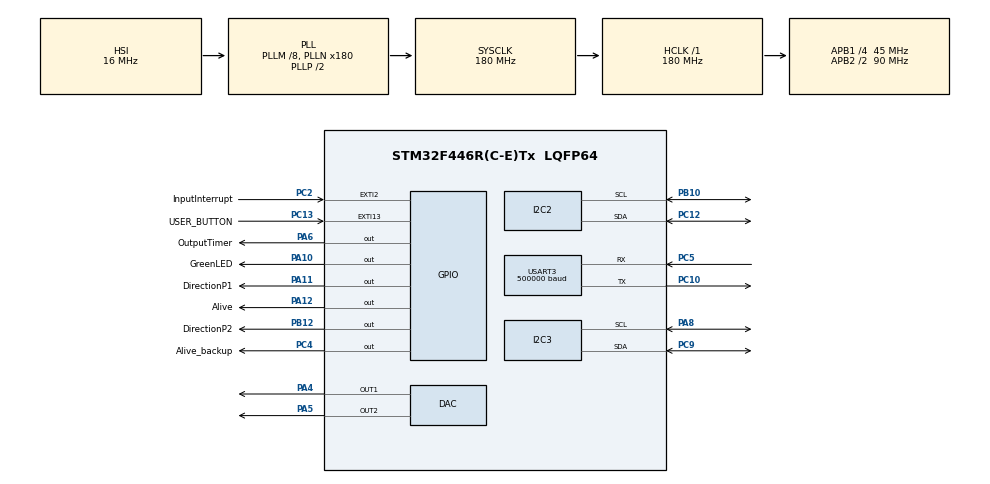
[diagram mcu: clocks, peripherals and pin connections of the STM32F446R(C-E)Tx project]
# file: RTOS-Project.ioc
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Mcu.Family=STM32F4
FREERTOS.Queues01=Sensor1Queue,1,float,0,Dynamic,NULL,NULL;Sensor2Queue,1,float,0,Dynamic,NULL,NULL;P1TelemetryQueue,1,float,0,Dynamic,NULL,NULL;P2TelemetryQueue,1,float,0,Dynamic,NULL,NULL;MissionDataQueue,1,int,0,Dynamic,NULL,NULL;MewMissionP1Queue,1,int,0,Dynamic,NULL,NULL;MewMissionP2Queue,1,int,0,Dynamic,NULL,NULL;MpuDataQueue,1,uint32_t,0,Dynamic,NULL,NULL;MissionTimerQueue,1,uint32_t,0,Dynamic,NULL,NULL;TimerSettingsQueue,1,int,0,Dynamic,NULL,NULL
RCC.CortexFreq_Value=180000000
FREERTOS.BinarySemaphores01=P1ITSem,Dynamic,NULL;P2ITSem,Dynamic,NULL;MissionTimerSem,Dynamic,NULL;TelemetryThreadSem,Dynamic,NULL
PC9.GPIO_PuPdOD=GPIO_NOPULL
PB10.Mode=I2C
NVIC.DMA1_Stream2_IRQn=true\:5\:0\:false\:false\:true\:false\:false\:true
PC10.Signal=USART3_TX
PC12.Signal=I2C2_SDA
PA6.GPIO_Label=OutputTimer
PA11.GPIO_PuPd=GPIO_PULLDOWN
PC5.Mode=Asynchronous
PC13.GPIO_Label=USER_BUTTON
NVIC.DMA1_Stream4_IRQn=true\:5\:0\:false\:false\:true\:true\:false\:true
RCC.SYSCLKSource=RCC_SYSCLKSOURCE_PLLCLK
ProjectManager.StackSize=0x400
SH.COMP_DAC2_group.0=DAC_OUT2,DAC_OUT2
Dma.I2C2_TX.3.Mode=DMA_NORMAL
VP_TIM7_VS_ClockSourceINT.Mode=Enable_Timer
PA12.GPIO_ModeDefaultOutputPP=GPIO_MODE_OUTPUT_PP
Dma.I2C2_RX.2.Priority=DMA_PRIORITY_LOW
PA12.Signal=GPIO_Output
Dma.I2C3_RX.1.Instance=DMA1_Stream1
USART3.BaudRate=500000
Dma.I2C3_RX.1.MemInc=DMA_MINC_ENABLE
RCC.HCLKFreq_Value=180000000
RCC.APB2TimFreq_Value=180000000
Dma.I2C2_RX.2.Direction=DMA_PERIPH_TO_MEMORY
TIM7.Period=49999
Dma.I2C2_TX.3.PeriphDataAlignment=DMA_PDATAALIGN_BYTE
FREERTOS.configMINIMAL_STACK_SIZE=256
Dma.I2C3_RX.1.PeriphDataAlignment=DMA_PDATAALIGN_BYTE
RCC.AHBFreq_Value=180000000
NVIC.EXTI15_10_IRQn=true\:5\:0\:false\:false\:true\:true\:true\:true
PA12.PinState=GPIO_PIN_SET
PC12.GPIO_PuPdOD=GPIO_NOPULL
PB12.GPIO_Label=DirectionP2
Dma.I2C2_TX.3.MemDataAlignment=DMA_MDATAALIGN_BYTE
NVIC.I2C3_EV_IRQn=true\:5\:0\:false\:false\:true\:true\:true\:true
Dma.I2C3_TX.0.Direction=DMA_MEMORY_TO_PERIPH
Dma.I2C2_TX.3.Priority=DMA_PRIORITY_LOW
PC4.GPIO_Label=Alive_backup
Dma.I2C2_RX.2.PeriphDataAlignment=DMA_PDATAALIGN_BYTE
PA8.GPIO_PuPdOD=GPIO_NOPULL
VP_SYS_VS_tim1.Mode=TIM1
Dma.I2C2_TX.3.PeriphInc=DMA_PINC_DISABLE
NVIC.TIM2_IRQn=true\:5\:0\:false\:false\:true\:true\:true\:true
PA10.GPIO_Label=GreenLED
PC13.GPIO_PuPd=GPIO_NOPULL
PC9.Mode=I2C
Dma.I2C2_RX.2.Mode=DMA_NORMAL
PA8.Signal=I2C3_SCL
VP_FREERTOS_VS_CMSIS_V1.Mode=CMSIS_V1
Dma.I2C3_TX.0.Priority=DMA_PRIORITY_LOW
NVIC.DMA1_Stream7_IRQn=true\:5\:0\:false\:false\:true\:true\:false\:true
PB9.Signal=I2C1_SDA
Mcu.Package=LQFP64
TIM2.Prescaler=1
PA6.Signal=GPIO_Output
NVIC.TimeBase=TIM1_UP_TIM10_IRQn
Dma.I2C2_RX.2.FIFOMode=DMA_FIFOMODE_DISABLE
NVIC.TimeBaseIP=TIM1
PA10.Signal=GPIO_Output
RCC.APB2CLKDivider=RCC_HCLK_DIV2
NVIC.EXTI2_IRQn=true\:5\:0\:false\:false\:true\:true\:true\:true
Dma.Request2=I2C2_RX
Dma.I2C2_RX.2.Instance=DMA1_Stream2
Dma.Request1=I2C3_RX
RCC.APB1TimFreq_Value=90000000
Dma.Request3=I2C2_TX
PC5.Signal=USART3_RX
Dma.I2C3_TX.0.PeriphDataAlignment=DMA_PDATAALIGN_BYTE
PA12.GPIO_PuPd=GPIO_NOPULL
Dma.Request0=I2C3_TX
Dma.I2C3_TX.0.MemInc=DMA_MINC_ENABLE
PC2.GPIO_Label=InputInterrupt
NVIC.TIM7_IRQn=true\:6\:0\:true\:false\:true\:true\:true\:true
PC2.GPIO_ModeDefaultEXTI=GPIO_MODE_IT_RISING_FALLING
SH.COMP_DAC1_group.0=DAC_OUT1,DAC_OUT1
FREERTOS.Tasks01=defaultTask,-2,256,StartDefaultTask,Default,NULL,Dynamic,NULL,NULL;ThreadP1,0,256,P1EntryFunc,Default,NULL,Dynamic,NULL,NULL;ThreadP2,0,256,P2EntryFunc,Default,NULL,Dynamic,NULL,NULL;SensorRead,0,256,SensorReadFunc,Default,NULL,Dynamic,NULL,NULL;OrchestratorTas,1,256,OrchestratorTaskFunc,Default,NULL,Dynamic,NULL,NULL;TelemetryThread,-1,256,TelemetryThreadFunc,Default,NULL,Dynamic,NULL,NULL;MissionTimerTas,2,256,MissionTimerTaskFunc,Default,NULL,Dynamic,NULL,NULL
I2C3.OwnAddress=2
PC4.GPIO_PuPd=GPIO_NOPULL
Dma.I2C2_TX.3.Instance=DMA1_Stream7
PC13.Signal=GPXTI13
Dma.I2C3_TX.0.PeriphInc=DMA_PINC_DISABLE
Dma.I2C3_TX.0.Mode=DMA_NORMAL
PB10.GPIO_PuPdOD=GPIO_NOPULL
PC4.Signal=GPIO_Output
PC2.Signal=GPXTI2
PC10.Mode=Asynchronous
PA11.GPIO_Label=DirectionP1
NVIC.DMA1_Stream1_IRQn=true\:5\:0\:false\:false\:true\:true\:false\:true
RCC.APB1TimCLKDivider=2
FREERTOS.CountingSemaphores01=CountingSemaphore,2,Dynamic,NULL
RCC.APB1CLKDivider=RCC_HCLK_DIV4
Dma.I2C3_TX.0.Instance=DMA1_Stream4
Dma.I2C2_RX.2.MemDataAlignment=DMA_MDATAALIGN_BYTE
PA12.GPIO_Label=Alive
Dma.I2C3_RX.1.Direction=DMA_PERIPH_TO_MEMORY
I2C3.GeneralCallMode=I2C_GENERALCALL_ENABLE
ProjectManager.TargetToolchain=STM32CubeIDE
NVIC.I2C2_ER_IRQn=true\:5\:0\:false\:false\:true\:true\:true\:true
RCC.USBFreq_Value=180000000
Dma.I2C2_TX.3.FIFOMode=DMA_FIFOMODE_DISABLE
PB10.Signal=I2C2_SCL
Dma.I2C3_RX.1.MemDataAlignment=DMA_MDATAALIGN_BYTE
PA5.Signal=COMP_DAC2_group
Dma.I2C2_RX.2.PeriphInc=DMA_PINC_DISABLE
PC12.Mode=I2C
TIM7.Prescaler=1799
board=custom
RCC.VCOOutputFreq_Value=360000000
RCC.APB2Freq_Value=90000000
Dma.I2C3_RX.1.PeriphInc=DMA_PINC_DISABLE
VP_TIM2_VS_ClockSourceINT.Mode=Internal
Dma.I2C2_TX.3.MemInc=DMA_MINC_ENABLE
Dma.I2C3_TX.0.FIFOMode=DMA_FIFOMODE_DISABLE
PC2.GPIO_PuPd=GPIO_PULLDOWN
TIM2.Period=899999
Mcu.Name=STM32F446R(C-E)Tx
Dma.I2C3_RX.1.FIFOMode=DMA_FIFOMODE_DISABLE
PA4.Signal=COMP_DAC1_group
RCC.SYSCLKFreq_VALUE=180000000
FREERTOS.configUSE_COUNTING_SEMAPHORES=1
Dma.I2C2_TX.3.Direction=DMA_MEMORY_TO_PERIPH
PC13.GPIO_ModeDefaultEXTI=GPIO_MODE_IT_FALLING
USART3.VirtualMode=VM_ASYNC
PA11.Signal=GPIO_Output
ProjectManager.HeapSize=0x200
Dma.I2C3_RX.1.Priority=DMA_PRIORITY_LOW
NVIC.TIM1_UP_TIM10_IRQn=true\:0\:0\:false\:false\:true\:false\:false\:true
NVIC.I2C2_EV_IRQn=true\:5\:0\:false\:false\:true\:true\:true\:true
Dma.I2C2_RX.2.MemInc=DMA_MINC_ENABLE
NVIC.PriorityGroup=NVIC_PRIORITYGROUP_4
RCC.PLLM=8
Dma.I2C3_RX.1.Mode=DMA_NORMAL
NVIC.I2C3_ER_IRQn=true\:5\:0\:false\:false\:true\:true\:true\:true
RCC.PLLN=180
PB8.Signal=I2C1_SCL
TIM2.AutoReloadPreload=TIM_AUTORELOAD_PRELOAD_DISABLE
PA8.Mode=I2C
PC9.Signal=I2C3_SDA
RCC.APB1Freq_Value=45000000
VP_CRC_VS_CRC.Mode=CRC_Activate
Dma.I2C3_TX.0.MemDataAlignment=DMA_MDATAALIGN_BYTE
PB12.Signal=GPIO_Output

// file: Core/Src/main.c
/* USER CODE BEGIN Header */
/**
 ******************************************************************************
 * @file           : main.c
 * @brief          : Main program body
 ******************************************************************************
 * @attention
 *
 * <h2><center>&copy; Copyright (c) 2021 STMicroelectronics.
 * All rights reserved.</center></h2>
 *
 * This software component is licensed by ST under BSD 3-Clause license,
 * the "License"; You may not use this file except in compliance with the
 * License. You may obtain a copy of the License at:
 *                        opensource.org/licenses/BSD-3-Clause
 *
 ******************************************************************************
 */
/* USER CODE END Header */
#include "main.h"
#include "cmsis_os.h"
#include "crc.h"
#include "dac.h"
#include "dma.h"
#include "i2c.h"
#include "tim.h"
#include "usart.h"
#include "gpio.h"

/* USER CODE BEGIN Includes */
#include "config.h"
//#include "math.h"

/* USER CODE END Includes */

/* USER CODE BEGIN PD */

/*	TODO se si rigenera il codice:
 * 	1. Setta la funzione HAL_TIM_PeriodElapsedCallback come __weak
 */

/* USER CODE END PD */

void SystemClock_Config(void);
void MX_FREERTOS_Init(void);

int main(void)
{

  /* MCU Configuration--------------------------------------------------------*/

  /* Reset of all peripherals, Initializes the Flash interface and the Systick. */
  HAL_Init();

  /* Configure the system clock */
  SystemClock_Config();

  /* Initialize all configured peripherals */
  MX_GPIO_Init();
  MX_DMA_Init();
  MX_DAC_Init();
  MX_TIM2_Init();
  MX_CRC_Init();
  MX_I2C2_Init();
  MX_TIM7_Init();
  MX_I2C3_Init();
  MX_USART3_UART_Init();
  /* USER CODE BEGIN 2 */
  HAL_DAC_Start(&hdac, DAC_CHANNEL_1);
  HAL_DAC_Start(&hdac, DAC_CHANNEL_2);

  /* USER CODE END 2 */

  /* Call init function for freertos objects (in freertos.c) */
  MX_FREERTOS_Init();
  /* Start scheduler */
  osKernelStart();

  /* We should never get here as control is now taken by the scheduler */
  /* Infinite loop */
	while (1)
	{

	}
}

void SystemClock_Config(void)
{
  RCC_OscInitTypeDef RCC_OscInitStruct = {0};
  RCC_ClkInitTypeDef RCC_ClkInitStruct = {0};

  /** Configure the main internal regulator output voltage
  */
  __HAL_RCC_PWR_CLK_ENABLE();
  __HAL_PWR_VOLTAGESCALING_CONFIG(PWR_REGULATOR_VOLTAGE_SCALE1);
  /** Initializes the RCC Oscillators according to the specified parameters
  * in the RCC_OscInitTypeDef structure.
  */
  RCC_OscInitStruct.OscillatorType = RCC_OSCILLATORTYPE_HSI;
  RCC_OscInitStruct.HSIState = RCC_HSI_ON;
  RCC_OscInitStruct.HSICalibrationValue = RCC_HSICALIBRATION_DEFAULT;
  RCC_OscInitStruct.PLL.PLLState = RCC_PLL_ON;
  RCC_OscInitStruct.PLL.PLLSource = RCC_PLLSOURCE_HSI;
  RCC_OscInitStruct.PLL.PLLM = 8;
  RCC_OscInitStruct.PLL.PLLN = 180;
  RCC_OscInitStruct.PLL.PLLP = RCC_PLLP_DIV2;
  RCC_OscInitStruct.PLL.PLLQ = 2;
  RCC_OscInitStruct.PLL.PLLR = 2;
  if (HAL_RCC_OscConfig(&RCC_OscInitStruct) != HAL_OK)
  {
    Error_Handler();
  }
  /** Activate the Over-Drive mode
  */
  if (HAL_PWREx_EnableOverDrive() != HAL_OK)
  {
    Error_Handler();
  }
  /** Initializes the CPU, AHB and APB buses clocks
  */
  RCC_ClkInitStruct.ClockType = RCC_CLOCKTYPE_HCLK|RCC_CLOCKTYPE_SYSCLK
                              |RCC_CLOCKTYPE_PCLK1|RCC_CLOCKTYPE_PCLK2;
  RCC_ClkInitStruct.SYSCLKSource = RCC_SYSCLKSOURCE_PLLCLK;
  RCC_ClkInitStruct.AHBCLKDivider = RCC_SYSCLK_DIV1;
  RCC_ClkInitStruct.APB1CLKDivider = RCC_HCLK_DIV4;
  RCC_ClkInitStruct.APB2CLKDivider = RCC_HCLK_DIV2;

  if (HAL_RCC_ClockConfig(&RCC_ClkInitStruct, FLASH_LATENCY_5) != HAL_OK)
  {
    Error_Handler();
  }
}

 /**
  * @brief  Period elapsed callback in non blocking mode
  * @note   This function is called  when TIM1 interrupt took place, inside
  * HAL_TIM_IRQHandler(). It makes a direct call to HAL_IncTick() to increment
  * a global variable "uwTick" used as application time base.
  * @param  htim : TIM handle
  * @retval None
  */
__weak void HAL_TIM_PeriodElapsedCallback(TIM_HandleTypeDef *htim)
{
  if (htim->Instance == TIM1) {
    HAL_IncTick();
  }
}

void Error_Handler(void)
{
	__disable_irq();
	while (1)
	{
	}
}

/************************ (C) COPYRIGHT STMicroelectronics *****END OF FILE****/

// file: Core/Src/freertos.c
/* USER CODE BEGIN Header */
/**
 ******************************************************************************
 * File Name          : freertos.c
 * Description        : Code for freertos applications
 ******************************************************************************
 * @attention
 *
 * <h2><center>&copy; Copyright (c) 2021 STMicroelectronics.
 * All rights reserved.</center></h2>
 *
 * This software component is licensed by ST under Ultimate Liberty license
 * SLA0044, the "License"; You may not use this file except in compliance with
 * the License. You may obtain a copy of the License at:
 *                             www.st.com/SLA0044
 *
 ******************************************************************************
 */
/* USER CODE END Header */

#include "FreeRTOS.h"
#include "task.h"
#include "main.h"
#include "cmsis_os.h"

/* USER CODE BEGIN Includes */
#include "mpu6050.h"
#include "gpio.h"
#include "config.h"
#include "crc.h"
#include "dac.h"
#include "tim.h"
#include "utils.h"
#include "pid.h"
/* USER CODE END Includes */

/* USER CODE BEGIN PD */
#define MOTOR_ON 0
#define MOTOR_OFF 1
/* USER CODE END PD */

/* USER CODE BEGIN Variables */

//variabili per HAL_GPIO_EXTI_Callback
int softError = 0;

float kp = 30.0;
float ki = 10.0;
float kd = 22.5;
float multiplier = 1.0;

//pid originale
// float kp = 22,5
//float ki = 10.0;
//float kd = 22.5;

typedef struct Angle_Data{
	union{
		uint32_t i[1];
		float f[1];
	} angle;
	uint32_t crc;
} Angle_Data;

typedef struct Telemetry_Data{
	float angle;
	float pid;
	int direction;

} Telemetry_Data;

typedef struct State_Data{
	int timer;
	int state;
	uint8_t is_master;

} State_Data;

typedef struct Mission_Data{
	float desired_angle;
	float degrees_per_second;
}Mission_Data;

/* USER CODE END Variables */
osThreadId defaultTaskHandle;
osThreadId ThreadP1Handle;
osThreadId ThreadP2Handle;
osThreadId SensorReadHandle;
osThreadId OrchestratorThreadHandle;
osThreadId TelemetryThreadHandle;
osThreadId MissionTimerThreadHandle;
osMessageQId Sensor1QueueHandle;
osMessageQId Sensor2QueueHandle;
osMessageQId P1TelemetryQueueHandle;
osMessageQId P2TelemetryQueueHandle;
osMessageQId MissionDataQueueHandle;
osMessageQId MewMissionP1QueueHandle;
osMessageQId MewMissionP2QueueHandle;
osMessageQId MpuDataQueueHandle;
osMessageQId MissionTimerQueueHandle;
osMessageQId TimerSettingsQueueHandle;
osSemaphoreId P1ITSemHandle;
osSemaphoreId P2ITSemHandle;
osSemaphoreId MissionTimerSemHandle;
osSemaphoreId TelemetryThreadSemHandle;
osSemaphoreId CountingSemaphoreHandle;

/* USER CODE BEGIN FunctionPrototypes */

// INTERRUPT ESTERNO
//
void HAL_GPIO_EXTI_Callback(uint16_t GPIO_Pin)
{

	if(GPIO_Pin == InputInterrupt_Pin)
	{

		osSemaphoreRelease(P1ITSemHandle);
		osSemaphoreRelease(P2ITSemHandle);
	}

	if (GPIO_Pin == USER_BUTTON_Pin)
	{ // create Soft error

		if(softError == 0)
		{
			softError = 1;
		}
		else
		{
			softError = 0;
		}

	}
}

// INTERRUPT TIMER
//
void HAL_TIM_PeriodElapsedCallback(TIM_HandleTypeDef *htim)
{

	if( htim->Instance == TIM2)
	{
		/* Toggle external GPIO for interrupt */
		HAL_GPIO_TogglePin(OutputTimer_GPIO_Port, OutputTimer_Pin);
		osSemaphoreRelease(P1ITSemHandle);
		osSemaphoreRelease(P2ITSemHandle);
	}

	if (htim->Instance == TIM1)
	{
		HAL_IncTick();
	}

	if (htim->Instance == TIM7)
	{
		osSemaphoreRelease(MissionTimerSemHandle);
		HAL_GPIO_TogglePin(GreenLED_GPIO_Port, GreenLED_Pin);
	}

}

HAL_StatusTypeDef angle_data_queue_receive(Angle_Data * angleData, osMessageQId queue_id)
{

	osEvent event = osMessageGet(queue_id, osWaitForever);

	if (event.status == osEventMessage)
	{
		*angleData = *((Angle_Data *)event.value.v);
		return HAL_OK;
	}
	else
	{
		return HAL_ERROR;
	}

}

HAL_StatusTypeDef telemetry_queue_receive(Telemetry_Data * telemetryData, osMessageQId queue_id)
{

	osEvent event = osMessageGet(queue_id, osWaitForever);

	if (event.status == osEventMessage)
	{
		*telemetryData = *((Telemetry_Data *)event.value.v);
		return HAL_OK;
	}
	else
	{
		return HAL_ERROR;
	}

}

HAL_StatusTypeDef new_mission_data_queue_receive(Mission_Data * missionData, osMessageQId queue_id){

	osEvent event = osMessageGet(queue_id, osWaitForever);

	if (event.status == osEventMessage)
	{
		*missionData =  *((Mission_Data *)event.value.v);
		return HAL_OK;
	}
	else
	{
		return HAL_ERROR;
	}

}

HAL_StatusTypeDef timer_setting_receive(uint32_t * timer, osMessageQId queue_id){

	osEvent event = osMessageGet(queue_id, osWaitForever);

	if (event.status == osEventMessage)
	{
		*timer =  event.value.v;
		return HAL_OK;
	}
	else
	{
		return HAL_ERROR;
	}
}

int8_t get_I2C_confermation( uint8_t * pData){		// uint8_t * pData == uint8_y pData[]  <<-- stessa cosa

	uint8_t receiveBuf[1];

	HAL_I2C_Slave_Transmit(&hi2c3, pData, (uint16_t) 32, HAL_MAX_DELAY);

	printf("Wait for CMD...\n");
	HAL_I2C_Slave_Receive(&hi2c3, receiveBuf, (uint16_t) 1, HAL_MAX_DELAY);

	printf("	Received CMD: %d\n", receiveBuf[0]);

	return (int8_t) receiveBuf[0];

}

/* USER CODE END FunctionPrototypes */

void StartDefaultTask(void const * argument);
void P1EntryFunc(void const * argument);
void P2EntryFunc(void const * argument);
void SensorReadFunc(void const * argument);
void OrchestratorTaskFunc(void const * argument);
void TelemetryThreadFunc(void const * argument);
void MissionTimerThreadFunc(void const * argument);

void MX_FREERTOS_Init(void); /* (MISRA C 2004 rule 8.1) */

/* GetIdleTaskMemory prototype (linked to static allocation support) */
void vApplicationGetIdleTaskMemory( StaticTask_t **ppxIdleTaskTCBBuffer, StackType_t **ppxIdleTaskStackBuffer, uint32_t *pulIdleTaskStackSize );

/* USER CODE BEGIN GET_IDLE_TASK_MEMORY */
static StaticTask_t xIdleTaskTCBBuffer;
static StackType_t xIdleStack[configMINIMAL_STACK_SIZE];

void vApplicationGetIdleTaskMemory( StaticTask_t **ppxIdleTaskTCBBuffer, StackType_t **ppxIdleTaskStackBuffer, uint32_t *pulIdleTaskStackSize )
{
	*ppxIdleTaskTCBBuffer = &xIdleTaskTCBBuffer;
	*ppxIdleTaskStackBuffer = &xIdleStack[0];
	*pulIdleTaskStackSize = configMINIMAL_STACK_SIZE;
	/* place for user code */
}
/* USER CODE END GET_IDLE_TASK_MEMORY */

void MX_FREERTOS_Init(void) {

	/* Create the semaphores(s) */
	/* definition and creation of P1ITSem */
	osSemaphoreDef(P1ITSem);
	P1ITSemHandle = osSemaphoreCreate(osSemaphore(P1ITSem), 1);

	/* definition and creation of P2ITSem */
	osSemaphoreDef(P2ITSem);
	P2ITSemHandle = osSemaphoreCreate(osSemaphore(P2ITSem), 1);

	/* definition and creation of MissionTimerSem */
	osSemaphoreDef(MissionTimerSem);
	MissionTimerSemHandle = osSemaphoreCreate(osSemaphore(MissionTimerSem), 1);

	/* definition and creation of TelemetryThreadSem */
	osSemaphoreDef(TelemetryThreadSem);
	TelemetryThreadSemHandle = osSemaphoreCreate(osSemaphore(TelemetryThreadSem), 1);

	/* definition and creation of CountingSemaphore */
	osSemaphoreDef(CountingSemaphore);
	CountingSemaphoreHandle = osSemaphoreCreate(osSemaphore(CountingSemaphore), 2);

	/* Create the queue(s) */
	/* definition and creation of Sensor1Queue */
	osMessageQDef(Sensor1Queue, 1, float);
	Sensor1QueueHandle = osMessageCreate(osMessageQ(Sensor1Queue), NULL);

	/* definition and creation of Sensor2Queue */
	osMessageQDef(Sensor2Queue, 1, float);
	Sensor2QueueHandle = osMessageCreate(osMessageQ(Sensor2Queue), NULL);

	/* definition and creation of P1TelemetryQueue */
	osMessageQDef(P1TelemetryQueue, 1, float);
	P1TelemetryQueueHandle = osMessageCreate(osMessageQ(P1TelemetryQueue), NULL);

	/* definition and creation of P2TelemetryQueue */
	osMessageQDef(P2TelemetryQueue, 1, float);
	P2TelemetryQueueHandle = osMessageCreate(osMessageQ(P2TelemetryQueue), NULL);

	/* definition and creation of MissionDataQueue */
	osMessageQDef(MissionDataQueue, 1, int);
	MissionDataQueueHandle = osMessageCreate(osMessageQ(MissionDataQueue), NULL);

	/* definition and creation of MewMissionP1Queue */
	osMessageQDef(MewMissionP1Queue, 1, int);
	MewMissionP1QueueHandle = osMessageCreate(osMessageQ(MewMissionP1Queue), NULL);

	/* definition and creation of MewMissionP2Queue */
	osMessageQDef(MewMissionP2Queue, 1, int);
	MewMissionP2QueueHandle = osMessageCreate(osMessageQ(MewMissionP2Queue), NULL);

	/* definition and creation of MpuDataQueue */
	osMessageQDef(MpuDataQueue, 1, uint32_t);
	MpuDataQueueHandle = osMessageCreate(osMessageQ(MpuDataQueue), NULL);

	/* definition and creation of MissionTimerQueue */
	osMessageQDef(MissionTimerQueue, 1, uint32_t);
	MissionTimerQueueHandle = osMessageCreate(osMessageQ(MissionTimerQueue), NULL);

	/* definition and creation of TimerSettingsQueue */
	osMessageQDef(TimerSettingsQueue, 1, int);
	TimerSettingsQueueHandle = osMessageCreate(osMessageQ(TimerSettingsQueue), NULL);

	/* Create the thread(s) */
	/* definition and creation of defaultTask */
	osThreadDef(defaultTask, StartDefaultTask, osPriorityIdle, 0, 256);
	defaultTaskHandle = osThreadCreate(osThread(defaultTask), NULL);

	/* definition and creation of ThreadP1 */
	osThreadDef(ThreadP1, P1EntryFunc, osPriorityNormal, 0, 256);
	ThreadP1Handle = osThreadCreate(osThread(ThreadP1), NULL);

	/* definition and creation of ThreadP2 */
	osThreadDef(ThreadP2, P2EntryFunc, osPriorityNormal, 0, 256);
	ThreadP2Handle = osThreadCreate(osThread(ThreadP2), NULL);

	/* definition and creation of SensorRead */
	osThreadDef(SensorRead, SensorReadFunc, osPriorityNormal, 0, 256);
	SensorReadHandle = osThreadCreate(osThread(SensorRead), NULL);

	/* definition and creation of OrchestratorTask */
	osThreadDef(OrchestratorThread, OrchestratorTaskFunc, osPriorityAboveNormal, 0, 256);
	OrchestratorThreadHandle = osThreadCreate(osThread(OrchestratorThread), NULL);

	/* definition and creation of TelemetryThread */
	osThreadDef(TelemetryThread, TelemetryThreadFunc, osPriorityBelowNormal, 0, 256);
	TelemetryThreadHandle = osThreadCreate(osThread(TelemetryThread), NULL);

	/* definition and creation of MissionTimerThread */
	osThreadDef(MissionTimerThread, MissionTimerThreadFunc, osPriorityHigh, 0, 256);
	MissionTimerThreadHandle = osThreadCreate(osThread(MissionTimerThread), NULL);

	/* USER CODE BEGIN RTOS_THREADS */
	/* add threads, ... */

	osThreadSuspend(TelemetryThreadHandle);

	/* set all semaphores to 0 */
	osSemaphoreWait(P2ITSemHandle, osWaitForever);
	osSemaphoreWait(P1ITSemHandle, osWaitForever);
	osSemaphoreWait(CountingSemaphoreHandle, osWaitForever);
	osSemaphoreWait(CountingSemaphoreHandle, osWaitForever);

	/* stop P1, P2 and all related processes */
	osThreadSuspend(ThreadP1Handle);
	osThreadSuspend(ThreadP2Handle);
	osThreadSuspend(SensorReadHandle);

	/* USER CODE END RTOS_THREADS */

}

void StartDefaultTask(void const * argument)
{
	/* USER CODE BEGIN StartDefaultTask */
	/* Infinite loop */
	for(;;)
	{
		osDelay(1000000);
	}
	/* USER CODE END StartDefaultTask */
}

void P1EntryFunc(void const * argument)
{
	/* USER CODE BEGIN P1EntryFunc */

	/* Time variables for PID calculation */

	Angle_Data angle_data;
	hpid PidHandler;
	Telemetry_Data telemetry;
	Process_Timer process_timer;
	Mission_Data mission_data;

	float first_angle = 0.0;
	int last_motor_state = MOTOR_OFF;
	int first_loop = 1 ;

	//Receive mission settings from orchestrator thread
	new_mission_data_queue_receive(&mission_data,MewMissionP1QueueHandle);

	/* Infinite loop */
	for(;;)
	{

		if (osSemaphoreWait(P1ITSemHandle, osWaitForever) == osOK)
		{

			if (osSemaphoreRelease(CountingSemaphoreHandle) == osOK)
			{

				/* Receive sensor data from SensorReadThread */
				angle_data_queue_receive(&angle_data,Sensor1QueueHandle);

				if (first_loop)
				{
					init_process_timer(&process_timer);
					first_angle = angle_data.angle.f[0];
					first_loop = 0;

				}

				float current_angle = angle_data.angle.f[0] - first_angle ;

				/* Simulate soft error by adding 80.0 ° to angle */
				if (softError == 1 )
				{
					angle_data.angle.f[0] = angle_data.angle.f[0] + 80.0;
				}

				/* Rre-calculate and check crc */
				uint32_t crc = HAL_CRC_Calculate(&hcrc, angle_data.angle.i,1);

				if (crc == angle_data.crc)
				{

					if (last_motor_state == MOTOR_OFF)
					{
						HAL_GPIO_WritePin(Alive_GPIO_Port, Alive_Pin, MOTOR_ON);
						last_motor_state = MOTOR_ON;
					}

					calculate_next_process_timings(&process_timer);

					float calculated_angle =  mission_data.degrees_per_second * process_timer.mission_time_in_seconds;

					if (calculated_angle >= mission_data.desired_angle )
					{
						calculated_angle = mission_data.desired_angle ;
					}

					PID_Calculate(&PidHandler, process_timer.elapsed_time_in_seconds, current_angle, calculated_angle, kp, ki, kd, multiplier);

					/* Output direction on gpio:  0--> left  1 --> rigth */
					HAL_GPIO_WritePin(DirectionP1_GPIO_Port, DirectionP1_Pin, PID_Get_Direction(&PidHandler));

					/* Map PID value on DAC*/
					uint32_t pid_DAC = (uint32_t) fabs(PID_Get_Actuation(&PidHandler));
					pid_DAC = UTIL_Constrain(pid_DAC, 0, 4096);
					HAL_DAC_SetValue(&hdac, DAC_CHANNEL_1, DAC_ALIGN_12B_R, pid_DAC);

					//send telemetry to TelemetryThread
					//
					telemetry.angle = current_angle;
					telemetry.direction = PID_Get_Direction(&PidHandler);
					telemetry.pid = PID_Get_Actuation(&PidHandler);
					osMessagePut(P1TelemetryQueueHandle, (uint32_t) &telemetry, 0);
				}
				else
				{
					printf("P1 - CRC Error\r\n");

					HAL_GPIO_WritePin(Alive_GPIO_Port, Alive_Pin, MOTOR_OFF);
					last_motor_state = MOTOR_OFF;

					/* TODO: Che succede se il CRC è errato?
					 *
					 * possibili soluzioni:
					 *
					 *  - invio nell'union di vecchio e nuovo angolo, scegliendo quello vecchio?
					 *  - oppure il processo richiede la ri-lettura del sensore? in queston caso devo gestire il counting semaphore
					 *
					 *
					 * */
				}

			}

		}
		osDelay(1);
	}
	/* USER CODE END P1EntryFunc */
}

void P2EntryFunc(void const * argument)
{
	/* USER CODE BEGIN P2EntryFunc */

	/*
	 * TODO: se non mi arriva l'interrupt bisognerebbe negoziare il ruolo di master/slave
	 * quindi al posto di osWaitForever potrebbe esserci un timeout al cui scadere chiamiamo
	 * la funzione di negoziazione
	 */

	Process_Timer process_timer;
	Angle_Data angle_data;
	hpid PidHandler;
	Telemetry_Data telemetry;
	Mission_Data mission_data;

	//settings variables
	//
	float first_angle = 0.0;
	int first_loop = 1;
	int last_motor_state = MOTOR_OFF;

	new_mission_data_queue_receive (&mission_data,MewMissionP2QueueHandle);

	/* Infinite loop */
	for(;;)
	{

		if (osSemaphoreWait(P2ITSemHandle, osWaitForever) == osOK)
		{

			if(osSemaphoreRelease(CountingSemaphoreHandle) == osOK)
			{

				//receive data from P2 with a queue
				//
				angle_data_queue_receive(&angle_data,Sensor2QueueHandle);

				//start from 0
				//
				if (first_loop)
				{
					init_process_timer(&process_timer);
					first_angle = angle_data.angle.f[0];
					first_loop = 0;
				}

				float current_angle = angle_data.angle.f[0] - first_angle;

				//calculates crc and check if is equal to the one received
				//
				uint32_t crc = HAL_CRC_Calculate(&hcrc, angle_data.angle.i,1);

				if (crc == angle_data.crc)
				{

					if (last_motor_state == MOTOR_OFF)
					{
						HAL_GPIO_WritePin(Alive_GPIO_Port, Alive_Pin, MOTOR_ON);
						last_motor_state = MOTOR_ON;
					}

					calculate_next_process_timings(&process_timer);

					float calculated_angle =  mission_data.degrees_per_second * process_timer.mission_time_in_seconds;

					if (calculated_angle >= mission_data.desired_angle )
					{
						calculated_angle = mission_data.desired_angle ;
					}

					//pid
					//
					PID_Calculate(&PidHandler, process_timer.elapsed_time_in_seconds, current_angle, calculated_angle, kp, ki, kd, multiplier);

					//output direction on gpio:     0--> left     1 --> rigth
					//
					HAL_GPIO_WritePin(DirectionP2_GPIO_Port, DirectionP2_Pin, PID_Get_Direction(&PidHandler));

					//converts pid for DAC and writes to it
					//
					uint32_t pid_DAC = (uint32_t) fabs(PID_Get_Actuation(&PidHandler));
					pid_DAC = UTIL_Constrain(pid_DAC, 0, 4096);
					HAL_DAC_SetValue(&hdac, DAC_CHANNEL_2, DAC_ALIGN_12B_R, pid_DAC);

					//send telemetry to TelemetryThread
					//
					telemetry.angle = current_angle;
					telemetry.direction = PID_Get_Direction(&PidHandler);
					telemetry.pid = PID_Get_Actuation(&PidHandler);
					osMessagePut(P2TelemetryQueueHandle, (uint32_t) &telemetry, 0);

				}
				else
				{
					printf("P2 - CRC Error\r\n");

					HAL_GPIO_WritePin(Alive_GPIO_Port, Alive_Pin, MOTOR_OFF);

					last_motor_state = MOTOR_OFF;
				}
			}
		}
		osDelay(1);

	}
	/* USER CODE END P2EntryFunc */
}

void SensorReadFunc(void const * argument)
{
	/* USER CODE BEGIN SensorReadFunc */
	/* Infinite loop */

	Angle_Data angle_data;
	MPU_Data mpu_data;

	// Receive MPU6050 settings from Orchestator Trhead
	//
	osEvent event = osMessageGet(MpuDataQueueHandle, osWaitForever);

	if (event.status == osEventMessage)
	{
		mpu_data = *((MPU_Data *) event.value.v);

		printf("MPU data received");
		printf("mean=%f, sensitivity=%f\n", mpu_data.mean,mpu_data.LSB_sensitivity);
	}
	else
	{
		printf("Error receiving mpu data\n");
	}

	long current_time, elapsed_time, previous_time;
	float yaw;
	previous_time = xTaskGetTickCount();

	/* Infinite loop */
	for (;;)
	{

		if (osSemaphoreWait(CountingSemaphoreHandle, osWaitForever) == osOK)
		{
			if (osSemaphoreWait(CountingSemaphoreHandle, osWaitForever)== osOK)
			{
				current_time = xTaskGetTickCount();
				elapsed_time = current_time - previous_time;
				previous_time = current_time;

				MPU6050_Read_Gyro(&mpu_data);
				yaw =  yaw + ((mpu_data.last_raw_angle - mpu_data.mean) * (float) elapsed_time * 0.001); // elapsedTime/1000 to get seconds

				angle_data.angle.f[0] = yaw;
				angle_data.crc = HAL_CRC_Calculate(&hcrc, angle_data.angle.i,1);

				/* Send angles to P1 and P2 */
				osMessagePut(Sensor1QueueHandle, (uint32_t) &angle_data, 100);
				osMessagePut(Sensor2QueueHandle, (uint32_t) &angle_data, 100);
			}

		}

		osDelay(1);
	}
	/* USER CODE END SensorReadFunc */
}

/* USER CODE BEGIN Header_OrchestratorThreadFunc */
/**
 * @brief Functio
 * n implementing the OrchestratorTask thread.
 * @param argument: Not used
 * @retval None
 */
/* USER CODE END Header_OrchestratorThreadFunc */
void OrchestratorTaskFunc(void const * argument)
{
	/* USER CODE BEGIN OrchestratorThreadFunc */
	printf("[OS] - Start configuration thread\r\n");

	State_Data state_data;
	osEvent event;
	MPU_Data mpu_data;

	/* Rocket and mission settings */

	state_data.is_master = 0; 	// Board role setting:  slave=0, master=1
	state_data.timer = -5;  	// Mission start time
	state_data.state = 0;

	int mission_end_time = 30;
	uint8_t telemetry_enabled = 1;

	/* Internal variables */
	uint8_t in_powered_ascent = 0;

	for (;;)
	{

		switch (state_data.state)
		{

		case 0:

			/* Initialize MPU6050 */
			if (MPU6050_Init(&mpu_data, 3) == MPU_OK)
			{
				state_data.state = 1;
				break;
			}
			else
			{
				state_data.state = -1;
				break;
			}

		case 1:
		{

			int8_t cmd = get_I2C_confermation((uint8_t *)"[MPU] Wait for command");

			if ( cmd == 1)	//calibration
			{
				MPU6050_StatusTypeDef status = MPU6050_Calibration(&mpu_data, 1);

				if ( status == MPU_OK)
				{
					cmd = 0;
				}
				else
				{
					state_data.state = -1;
				}

				break;
			}

			if (cmd == 2)
			{
				/* Send settings to MissionTimerThread */
				osMessagePut(TimerSettingsQueueHandle, (uint32_t) state_data.timer, osWaitForever);

				/* Start MISSION timer  */
				HAL_TIM_Base_Start_IT(&htim7);

				/* Start TelemetryThread */
				if(telemetry_enabled)
				{
					osThreadResume(TelemetryThreadHandle);
				}

				state_data.state = 2;

				break;
			}

			if (cmd == -1)
			{
				state_data.state = -1;
				break;
			}
		}

		case 2:

			event = osMessageGet(MissionTimerQueueHandle, osWaitForever);

			if (event.status == osEventMessage)
			{
				state_data.timer =  event.value.v;

				if (state_data.timer == 0)
				{
					state_data.state = 3;
				}

			}

			break;

		case 3:

			event = osMessageGet(MissionTimerQueueHandle, osWaitForever);

			if (event.status == osEventMessage)
			{
				state_data.timer =  event.value.v;

				/* send data to telemetry */
				osMessagePut(MissionDataQueueHandle, (uint32_t) &state_data, 0);

				if (!in_powered_ascent)
				{
					//set alive to true
					HAL_GPIO_WritePin(Alive_GPIO_Port, Alive_Pin, MOTOR_ON);

					printf("[OS] MPU is MASTER - ");

					osThreadResume(SensorReadHandle);
					osThreadResume(ThreadP1Handle);
					osThreadResume(ThreadP2Handle);

					int status = osMessagePut(MpuDataQueueHandle, (uint32_t) &mpu_data, osWaitForever);

					if (status == HAL_OK)
					{
						printf("Mpu data sent to sensor read func\n");
					}
					else
					{
						printf("Mpu data send ERROR\n");
					}

					/* Mission settings */
					Mission_Data new_m_data;
					new_m_data.desired_angle = 180.0;
					new_m_data.degrees_per_second = 6.0;

					//send mission data to P1 and P2
					osMessagePut(MewMissionP1QueueHandle, (uint32_t) &new_m_data, osWaitForever);
					osMessagePut(MewMissionP2QueueHandle, (uint32_t) &new_m_data, osWaitForever);

					if (state_data.is_master)
					{
						int status = HAL_TIM_Base_Start_IT(&htim2);

						if (status == HAL_OK)
						{
							printf(" Stating sampling timer...\r\n\n");
						}
						else
						{
							printf("[OS] Timer failed to start - aborting.\r\n");
							state_data.state = -1;
							break;
						}

					}

					in_powered_ascent = 1;
				}

				if (state_data.timer == mission_end_time)
				{
					//set alive to false
					HAL_GPIO_WritePin(Alive_GPIO_Port, Alive_Pin, MOTOR_OFF);
					printf("Timer=30, mission stop\n");
					state_data.state = 4;

					break;
				}

			}

			break;

		case 4:

			printf("[state 4 = COASTING]\n");
			HAL_I2C_Slave_Transmit_DMA(&hi2c3, (uint8_t *)"[MPU] Coasting", (uint16_t) 64);

			osDelay(5000);

			if (state_data.is_master)
			{
				HAL_TIM_Base_Stop_IT(&htim2);
			}

			osThreadSuspendAll();
			// TODO get angles from P1,P2 and if needed command a trajectory adjustment

			break;

		case -1:

			state_data.state=-1;
			printf("[state = ABORT]\n");

			osThreadSuspendAll();

			break;
		}

		osDelay(1);
	}

	/* USER CODE END OrchestratorThreadFunc */
}

void TelemetryThreadFunc(void const * argument)
{
	/* USER CODE BEGIN TelemetryThreadFunc */

	//TODO: get mission timer without a queue

	Telemetry_Data telemetry_p1, telemetry_p2;
	char msg[64];
	State_Data m_data;

	float unused = 0.0f;

	/* Infinite loop */
	for(;;)
	{

		//get telemetry from P1 and P2

		telemetry_queue_receive(&telemetry_p1,P1TelemetryQueueHandle);
		telemetry_queue_receive(&telemetry_p2,P2TelemetryQueueHandle);

		//get mission timer

		osEvent event = osMessageGet(MissionDataQueueHandle, 0);

		if (event.status == osEventMessage)
		{
			m_data = *((State_Data *) event.value.v);
		}

		// assemble telemetry message

		snprintf(msg, sizeof(msg), "%d;%d;%d;%0.2f;%0.2f,%0.0f;%0.2f,%0.0f",

				m_data.is_master,
				m_data.state,
				m_data.timer,
				unused,
				telemetry_p1.angle,
				telemetry_p1.pid,
				telemetry_p2.angle,
				telemetry_p2.pid

		);

		HAL_I2C_Slave_Transmit_DMA(&hi2c3, (uint8_t *)msg, (uint16_t) 64);

	}
	osDelay(1);

	/* USER CODE END TelemetryThreadFunc */
}

void MissionTimerThreadFunc(void const * argument)
{
	/* USER CODE BEGIN MissionTimerThreadFunc */
	/* Infinite loop */
	uint32_t timer;

	timer_setting_receive(&timer,TimerSettingsQueueHandle);

	for(;;)
	{
		if(osSemaphoreWait(MissionTimerSemHandle, osWaitForever) == HAL_OK)
		{
			timer ++;
			osMessagePut(MissionTimerQueueHandle, timer, osWaitForever);
		}

		osDelay(1);
	}
	/* USER CODE END MissionTimerThreadFunc */
}

/************************ (C) COPYRIGHT STMicroelectronics *****END OF FILE****/
